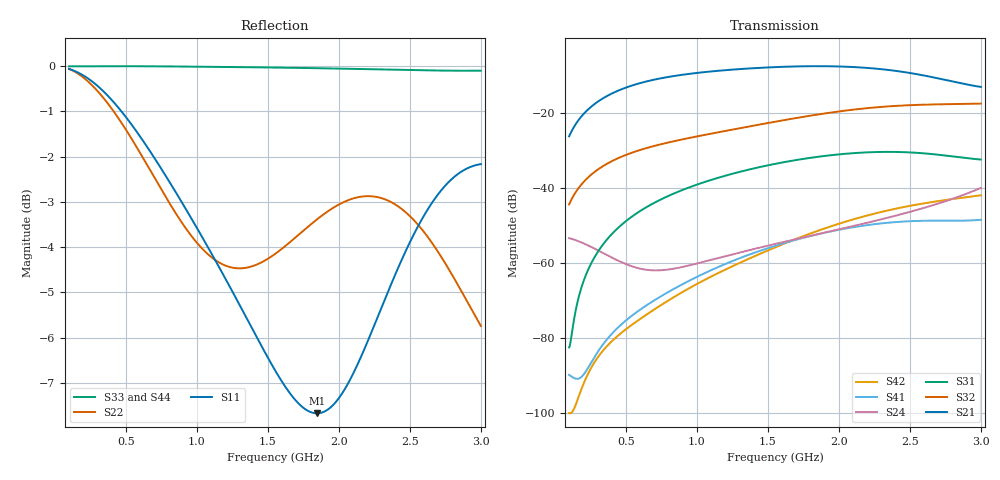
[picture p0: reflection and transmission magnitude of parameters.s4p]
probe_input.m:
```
close all
clear all
clc

f_min = 100e6;
f_max = 3e9;
f0 = (f_min + f_max)/2;
fc = f_max - f0;
f = logspace(log10(f0-fc), log10(f0+fc), 2001);
num_ports = 4;
sparam = cell(num_ports, num_ports);

FDTD = InitFDTD('EndCriteria', 1e-3);
FDTD = SetGaussExcite(FDTD, f0, fc);
BC   = {'PEC', 'PEC', 'PEC', 'PEC', 'PEC', 'PEC'};
FDTD = SetBoundaryCond(FDTD, BC);

for n=1:num_ports
	CSX = InitCSX();
	CSX = pcb(CSX);
	[CSX, port] = prepare_pcb(CSX, n);

	%% Simulation files and options
	Sim_Path = ['run-port' num2str(n)];
	Sim_CSX = 'pcb.xml';

	status = rmdir(Sim_Path, 's');
	status = mkdir(Sim_Path);

	openEMS_opts = '';
	WriteOpenEMS([Sim_Path '/' Sim_CSX], FDTD, CSX);
	RunOpenEMS(Sim_Path, Sim_CSX, openEMS_opts);

	%% Post-processing

	port = calcPort(port, Sim_Path, f, 'RefImpedance', 50);
	for i=1:num_ports
		sparam{i,n} = port{i}.uf.ref ./ port{n}.uf.inc;
	end
end

fdata = f;
for i=1:num_ports
	for j=1:num_ports
		fdata(end+1,:) = real(sparam{i,j});
		fdata(end+1,:) = imag(sparam{i,j});
	end
end

fd = fopen('parameters.s4p', 'w+');
fprintf(fd, "# Hz S RI R 50\n");
fprintf(fd, "%-12g %g %g %g %g %g %g %g %g\n\
             %g %g %g %g %g %g %g %g\n\
             %g %g %g %g %g %g %g %g\n\
             %g %g %g %g %g %g %g %g\n", fdata);
fclose(fd);
```
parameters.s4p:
# Hz S RI R 50
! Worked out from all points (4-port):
!   2001 points, 100 MHz to 3 GHz, reference 50 ohm
!   strongest paths, dB at 100 MHz, 825 MHz, 1.55 GHz, 2.275 GHz, 3 GHz:
!     S21: -26.3, -10.3, -7.8, -8.3, -13.1
!     S32: -44.4, -27.7, -22.4, -18.5, -17.5
!     S31: -82.5, -41.7, -33.6, -30.4, -32.4
!     S24: -53.4, -61.6, -54.9, -48.6, -40.0
!     S41: -89.8, -67.2, -55.5, -49.6, -48.5
!     S42: -100.0, -69.4, -55.9, -46.6, -42.0
!   lowest |S11| = -7.7 dB at 1.846 GHz (marker M1), VSWR 2.41, Z = 119 - j11 ohm
!   |S11| at or under -10 dB: nowhere
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1e8  0.9902 -0.0695  0.0072 0.0458  0.0025 -0.00136  -0.000275 -3.22e-05
     0.00979 0.0476  0.989 -0.0886  -0.0038 0.00847  0.00195 -0.000875
     -1.1e-05 -7.4e-05  0.000325 0.00601  0.9993 -0.014  5.74e-05 -1.51e-05
     2.16e-05 -2.39e-05  2.67e-06 -9.59e-06  -1.64e-06 -1.85e-06  -0.9948 0.00316
1.8458e9  0.4116 -0.0384  0.1798 -0.3858  0.0237 0.00956  0.0019 0.000183
          0.1615 -0.3864  0.6103 -0.2932  0.0313 0.0891  0.00174 0.00165
          0.0244 0.0086  0.0306 0.0896  0.9594 -0.2626  -9.01e-05 0.000115
          0.00238 0.000272  0.00148 0.0022  -0.000129 0.000107  -0.9924 0.0966
3e9  0.779 -0.0213  -0.1681 -0.1531  0.00672 -0.0211  0.000287 -0.0073
     -0.1678 -0.1448  0.2003 -0.4758  0.0868 0.0987  0.00739 -0.00673
     0.0131 -0.0199  0.0835 0.1034  0.8919 -0.426  0.000676 0.000764
     -6.92e-05 -0.00376  0.00408 -0.00684  0.000833 0.000412  -0.9952 0.1622
